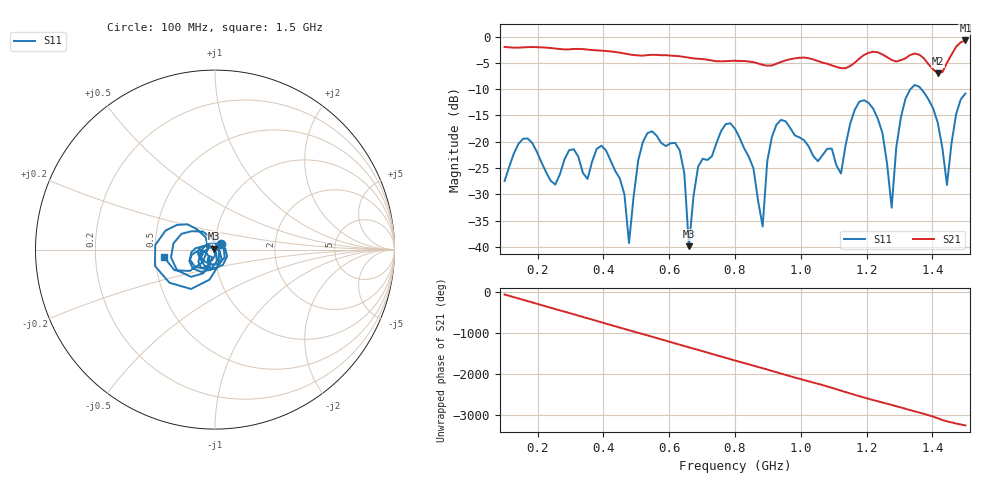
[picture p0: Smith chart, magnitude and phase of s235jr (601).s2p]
! NanoVNA-App
! Date: 2025-09-25 15:08:51
! Start: 100MHz Stop: 1,5GHz Points: 101
! S-Parameter data: F S11 S21 S12 S22
# Hz S RI R 50
!  Frequency  S11_Real  S11_Imag  S21_Real  S21_Imag  S12_Real  S12_Imag  S22_Real  S22_Imag
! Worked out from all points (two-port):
!   101 points, 100 MHz to 1.5 GHz, reference 50 ohm
!   highest |S21| = -0.72 dB at 1.5 GHz (marker M1); lowest = -7.0 dB at 1.416 GHz (marker M2)
!   |S21| within 3 dB of the highest: start of sweep to 630.6 MHz; 1.187 GHz to 1.257 GHz (70.25 MHz wide, 5.75 % of centre) (the widest 2 of 4)
!   lowest |S11| = -39.9 dB at 660 MHz (marker M3), VSWR 1.02, Z = 49.2 + j0.599 ohm
!   |S11| at or under -10 dB: start of sweep to 1.333 GHz; 1.366 GHz to end of sweep
!   S12 and S22 are empty: the file has one direction only
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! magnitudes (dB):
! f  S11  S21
! 100 MHz  -27.5  -2.0
! 156 MHz  -19.4  -2.0
! 338 MHz  -25.9  -2.4
! 408 MHz  -21.6  -2.7
! 478 MHz  -39.3  -3.4
! 520 MHz  -20.1  -3.6
! 576 MHz  -20.2  -3.5
! 632 MHz  -21.6  -3.7
! 660 MHz  -39.9  -4.0
! 688 MHz  -24.7  -4.2
! 800 MHz  -17.5  -4.6
! 884 MHz  -36.1  -5.4
! 926 MHz  -16.7  -5.2
! 1.038 GHz  -22.7  -4.3
! 1.122 GHz  -26.0  -6.0
! 1.206 GHz  -12.6  -3.1
! 1.248 GHz  -18.3  -3.4
! 1.276 GHz  -32.5  -4.4
! 1.332 GHz  -10.1  -3.5
! 1.416 GHz  -16.4  -7.0
! 1.444 GHz  -28.2  -5.0
! 1.5 GHz  -10.8  -0.7
